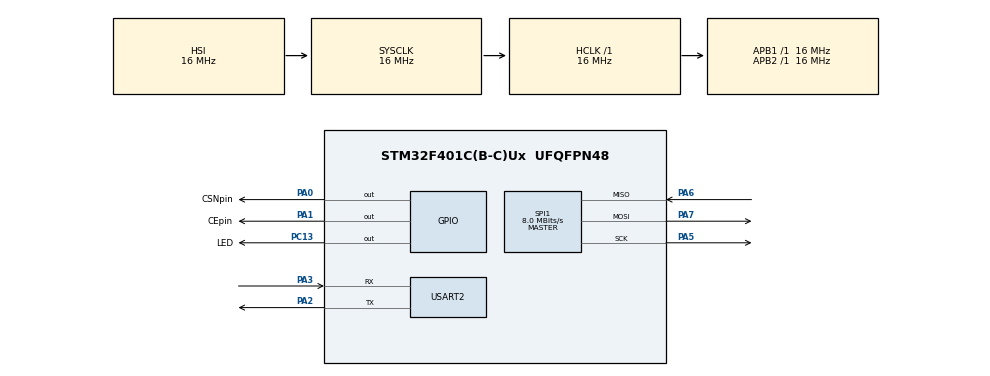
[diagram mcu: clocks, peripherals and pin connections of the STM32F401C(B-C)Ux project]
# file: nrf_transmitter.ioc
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Mcu.Family=STM32F4
Mcu.Name=STM32F401C(B-C)Ux
Mcu.Package=UFQFPN48
NVIC.PriorityGroup=NVIC_PRIORITYGROUP_4
PA0-WKUP.GPIO_Label=CSNpin
PA0-WKUP.Signal=GPIO_Output
PA1.GPIO_Label=CEpin
PA1.Signal=GPIO_Output
PA2.Mode=Asynchronous
PA2.Signal=USART2_TX
PA3.Mode=Asynchronous
PA3.Signal=USART2_RX
PA5.Mode=Full_Duplex_Master
PA5.Signal=SPI1_SCK
PA6.Mode=Full_Duplex_Master
PA6.Signal=SPI1_MISO
PA7.Mode=Full_Duplex_Master
PA7.Signal=SPI1_MOSI
PC13-ANTI_TAMP.GPIO_Label=LED
PC13-ANTI_TAMP.Signal=GPIO_Output
ProjectManager.HeapSize=0x200
ProjectManager.StackSize=0x400
ProjectManager.TargetToolchain=STM32CubeIDE
RCC.AHBFreq_Value=16000000
RCC.APB1Freq_Value=16000000
RCC.APB2Freq_Value=16000000
RCC.CortexFreq_Value=16000000
RCC.HSE_VALUE=25000000
RCC.HSI_VALUE=16000000
RCC.LSE_VALUE=32768
RCC.SYSCLKFreq_VALUE=16000000
RCC.VCOOutputFreq_Value=192000000
SPI1.CalculateBaudRate=8.0 MBits/s
SPI1.Direction=SPI_DIRECTION_2LINES
SPI1.Mode=SPI_MODE_MASTER
SPI1.VirtualType=VM_MASTER
USART2.VirtualMode=VM_ASYNC
board=custom

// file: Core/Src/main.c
/* USER CODE BEGIN Header */
/**
  ******************************************************************************
  * @file           : main.c
  * @brief          : Main program body
  ******************************************************************************
  * @attention
  *
  * <h2><center>&copy; Copyright (c) 2021 STMicroelectronics.
  * All rights reserved.</center></h2>
  *
  * This software component is licensed by ST under BSD 3-Clause license,
  * the "License"; You may not use this file except in compliance with the
  * License. You may obtain a copy of the License at:
  *                        opensource.org/licenses/BSD-3-Clause
  *
  ******************************************************************************
  */
/* USER CODE END Header */
#include "main.h"

/* USER CODE BEGIN Includes */
#include "MY_NRF24.h"

/* USER CODE END Includes */

/* USER CODE BEGIN PTD */
typedef struct telemetryData{
	float pitch;
	float roll;
	float yaw;
	float speed;

};

/* USER CODE END PTD */

SPI_HandleTypeDef hspi1;

UART_HandleTypeDef huart2;

void SystemClock_Config(void);
static void MX_GPIO_Init(void);
static void MX_SPI1_Init(void);
static void MX_USART2_UART_Init(void);

/* USER CODE BEGIN 0 */
uint64_t txPipe = 0x2121AA12FF;
uint8_t txData[32] = "selamualeykum";
/* USER CODE END 0 */

int main(void)
{

  /* MCU Configuration--------------------------------------------------------*/

  /* Reset of all peripherals, Initializes the Flash interface and the Systick. */
  HAL_Init();

  /* Configure the system clock */
  SystemClock_Config();

  /* Initialize all configured peripherals */
  MX_GPIO_Init();
  MX_SPI1_Init();
  MX_USART2_UART_Init();
  /* USER CODE BEGIN 2 */

  NRF24_begin(CEpin_GPIO_Port, CSNpin_Pin, CEpin_Pin, hspi1);
  nrf24_DebugUART_Init(huart2);

  // no ack transmitting
  NRF24_stopListening();
  NRF24_openWritingPipe(txPipe);
  NRF24_setAutoAck(false);
  NRF24_setDataRate(250);
  NRF24_setChannel(23);
  NRF24_setPayloadSize(32);

  HAL_GPIO_WritePin(LED_GPIO_Port, LED_Pin, 0);
  /* USER CODE END 2 */

  /* Infinite loop */
  while (1)
  {

    /* USER CODE BEGIN 3 */
	  if(NRF24_write(txData, 32)){
		  HAL_UART_Transmit(&huart2, (uint8_t *)"Transmitted successfully\r\n", strlen("Transmitted successfully\r\n"), 10);
		  HAL_GPIO_TogglePin(LED_GPIO_Port, LED_Pin);
		  HAL_Delay(500);
		  HAL_GPIO_TogglePin(LED_GPIO_Port, LED_Pin);
	  }
	  HAL_Delay(1000);
  }
  /* USER CODE END 3 */
}

void SystemClock_Config(void)
{
  RCC_OscInitTypeDef RCC_OscInitStruct = {0};
  RCC_ClkInitTypeDef RCC_ClkInitStruct = {0};

  /** Configure the main internal regulator output voltage
  */
  __HAL_RCC_PWR_CLK_ENABLE();
  __HAL_PWR_VOLTAGESCALING_CONFIG(PWR_REGULATOR_VOLTAGE_SCALE2);
  /** Initializes the RCC Oscillators according to the specified parameters
  * in the RCC_OscInitTypeDef structure.
  */
  RCC_OscInitStruct.OscillatorType = RCC_OSCILLATORTYPE_HSI;
  RCC_OscInitStruct.HSIState = RCC_HSI_ON;
  RCC_OscInitStruct.HSICalibrationValue = RCC_HSICALIBRATION_DEFAULT;
  RCC_OscInitStruct.PLL.PLLState = RCC_PLL_NONE;
  if (HAL_RCC_OscConfig(&RCC_OscInitStruct) != HAL_OK)
  {
    Error_Handler();
  }
  /** Initializes the CPU, AHB and APB buses clocks
  */
  RCC_ClkInitStruct.ClockType = RCC_CLOCKTYPE_HCLK|RCC_CLOCKTYPE_SYSCLK
                              |RCC_CLOCKTYPE_PCLK1|RCC_CLOCKTYPE_PCLK2;
  RCC_ClkInitStruct.SYSCLKSource = RCC_SYSCLKSOURCE_HSI;
  RCC_ClkInitStruct.AHBCLKDivider = RCC_SYSCLK_DIV1;
  RCC_ClkInitStruct.APB1CLKDivider = RCC_HCLK_DIV1;
  RCC_ClkInitStruct.APB2CLKDivider = RCC_HCLK_DIV1;

  if (HAL_RCC_ClockConfig(&RCC_ClkInitStruct, FLASH_LATENCY_0) != HAL_OK)
  {
    Error_Handler();
  }
}

static void MX_SPI1_Init(void)
{

  /* SPI1 parameter configuration*/
  hspi1.Instance = SPI1;
  hspi1.Init.Mode = SPI_MODE_MASTER;
  hspi1.Init.Direction = SPI_DIRECTION_2LINES;
  hspi1.Init.DataSize = SPI_DATASIZE_8BIT;
  hspi1.Init.CLKPolarity = SPI_POLARITY_LOW;
  hspi1.Init.CLKPhase = SPI_PHASE_1EDGE;
  hspi1.Init.NSS = SPI_NSS_SOFT;
  hspi1.Init.BaudRatePrescaler = SPI_BAUDRATEPRESCALER_2;
  hspi1.Init.FirstBit = SPI_FIRSTBIT_MSB;
  hspi1.Init.TIMode = SPI_TIMODE_DISABLE;
  hspi1.Init.CRCCalculation = SPI_CRCCALCULATION_DISABLE;
  hspi1.Init.CRCPolynomial = 10;
  if (HAL_SPI_Init(&hspi1) != HAL_OK)
  {
    Error_Handler();
  }

}

static void MX_USART2_UART_Init(void)
{

  huart2.Instance = USART2;
  huart2.Init.BaudRate = 115200;
  huart2.Init.WordLength = UART_WORDLENGTH_8B;
  huart2.Init.StopBits = UART_STOPBITS_1;
  huart2.Init.Parity = UART_PARITY_NONE;
  huart2.Init.Mode = UART_MODE_TX_RX;
  huart2.Init.HwFlowCtl = UART_HWCONTROL_NONE;
  huart2.Init.OverSampling = UART_OVERSAMPLING_16;
  if (HAL_UART_Init(&huart2) != HAL_OK)
  {
    Error_Handler();
  }

}

static void MX_GPIO_Init(void)
{
  GPIO_InitTypeDef GPIO_InitStruct = {0};

  /* GPIO Ports Clock Enable */
  __HAL_RCC_GPIOC_CLK_ENABLE();
  __HAL_RCC_GPIOA_CLK_ENABLE();

  /*Configure GPIO pin Output Level */
  HAL_GPIO_WritePin(LED_GPIO_Port, LED_Pin, GPIO_PIN_RESET);

  /*Configure GPIO pin Output Level */
  HAL_GPIO_WritePin(GPIOA, CSNpin_Pin|CEpin_Pin, GPIO_PIN_RESET);

  /*Configure GPIO pin : LED_Pin */
  GPIO_InitStruct.Pin = LED_Pin;
  GPIO_InitStruct.Mode = GPIO_MODE_OUTPUT_PP;
  GPIO_InitStruct.Pull = GPIO_NOPULL;
  GPIO_InitStruct.Speed = GPIO_SPEED_FREQ_LOW;
  HAL_GPIO_Init(LED_GPIO_Port, &GPIO_InitStruct);

  /*Configure GPIO pins : CSNpin_Pin CEpin_Pin */
  GPIO_InitStruct.Pin = CSNpin_Pin|CEpin_Pin;
  GPIO_InitStruct.Mode = GPIO_MODE_OUTPUT_PP;
  GPIO_InitStruct.Pull = GPIO_NOPULL;
  GPIO_InitStruct.Speed = GPIO_SPEED_FREQ_LOW;
  HAL_GPIO_Init(GPIOA, &GPIO_InitStruct);

}

void Error_Handler(void)
{
  __disable_irq();
  while (1)
  {
  }
}

/************************ (C) COPYRIGHT STMicroelectronics *****END OF FILE****/
